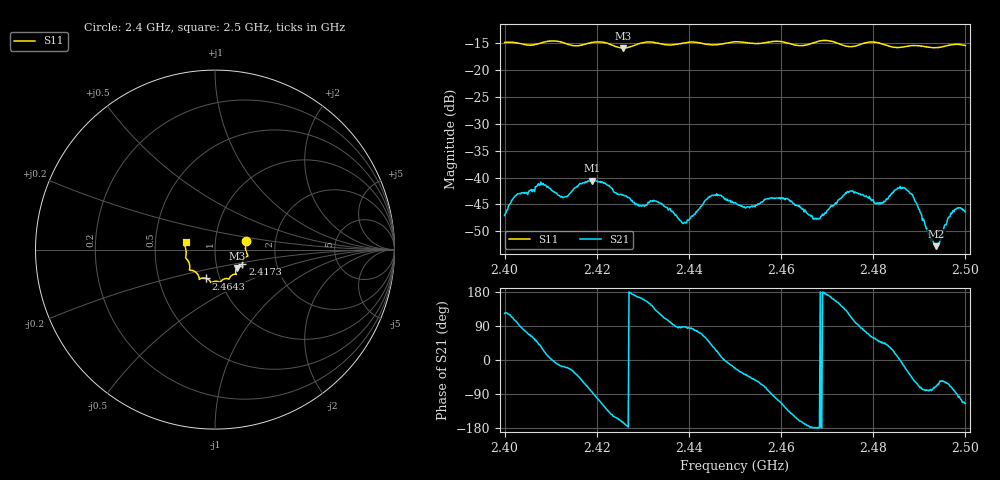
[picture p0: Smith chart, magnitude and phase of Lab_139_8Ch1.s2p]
# Hz S RI R 50
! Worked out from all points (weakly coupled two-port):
!   601 points, 2.4 GHz to 2.5 GHz, reference 50 ohm
!   highest |S21| = -40.56 dB at 2.419 GHz (marker M1); lowest = -52.8 dB at 2.4937 GHz (marker M2)
!   lowest |S11| = -15.9 dB at 2.4257 GHz (marker M3), VSWR 1.38, Z = 62.4 - j13.1 ohm
!   |S11| at or under -10 dB: start of sweep to end of sweep
!   S12 and S22 are empty: the file has one direction only
!   S11 on the Smith chart (normalised r, x): 2.4 GHz: 1.41, +0.14; 2.4173 GHz: 1.34, -0.23; 2.4643 GHz: 0.86, -0.29; 2.5 GHz: 0.72, +0.06
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2.4e9  0.1734 0.0492  -0.0024 0.00373  0 0  0 0
2.402333e9  0.1753 0.039  -0.00158 0.00658  0 0  0 0
2.407333e9  0.1749 -0.0137  0.00638 0.00602  0 0  0 0
2.413e9  0.1733 -0.0406  0.00626 -0.00207  0 0  0 0
2.416667e9  0.1531 -0.0742  0.0053 -0.00695  0 0  0 0
2.417333e9  0.1526 -0.0817  0.00412 -0.00788  0 0  0 0
2.419e9  0.1537 -0.0948  0.000852 -0.00933  0 0  0 0
2.425667e9  0.1226 -0.1026  -0.00662 -0.00196  0 0  0 0
2.433333e9  0.1127 -0.1367  -0.00345 0.00486  0 0  0 0
2.439e9  0.0807 -0.1594  0.000191 0.00382  0 0  0 0
2.445e9  0.0558 -0.1618  0.0054 0.00422  0 0  0 0
2.45e9  0.029 -0.1808  0.00548 -0.00208  0 0  0 0
2.46e9  -0.0232 -0.1824  -0.00258 -0.00596  0 0  0 0
2.464333e9  -0.0499 -0.1608  -0.005 -0.00161  0 0  0 0
2.466667e9  -0.0759 -0.1598  -0.00442 -0.000232  0 0  0 0
2.474833e9  -0.1047 -0.1278  -0.00361 0.00654  0 0  0 0
2.480667e9  -0.1424 -0.1112  0.00339 0.0046  0 0  0 0
2.483333e9  -0.1405 -0.0901  0.00531 0.00386  0 0  0 0
2.488e9  -0.1603 -0.051  0.00552 -0.0045  0 0  0 0
2.493667e9  -0.1613 -0.00578  0.000798 -0.00216  0 0  0 0
2.497333e9  -0.1703 0.028  0.00107 -0.00483  0 0  0 0
2.5e9  -0.1636 0.0419  -0.00205 -0.00433  0 0  0 0
